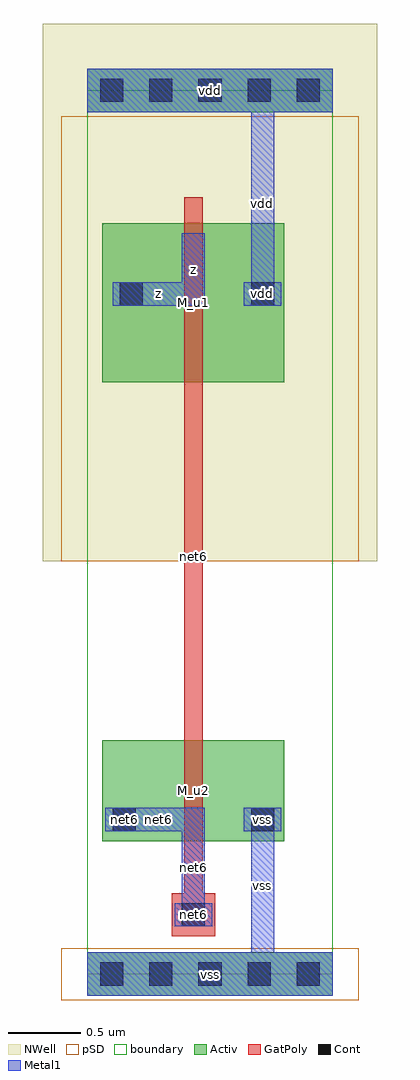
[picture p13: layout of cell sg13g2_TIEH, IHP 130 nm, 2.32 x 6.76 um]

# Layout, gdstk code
import gdstk
lib = gdstk.Library(unit=1e-6, precision=1e-09)
def R(c, l, rs):  # rectangles x0, y0, x1, y1
    for r in rs: c.add(gdstk.rectangle(r[:2], r[2:], *l))
def A(c, l, x, y, w, h, nx, ny, dx, dy):  # array of equal rectangles
    R(c, l, [(x+i*dx, y+j*dy, x+i*dx+w, y+j*dy+h) for i in range(nx) for j in range(ny)])
Activ = (1, 0)
GatPoly = (5, 0)
Cont = (6, 0)
Metal1 = (8, 0)
pSD = (14, 0)
NWell = (31, 0)
TEXT = (63, 0)
boundary = (189, 4)

sg13g2_tieh = lib.new_cell('sg13g2_TIEH')
R(sg13g2_tieh, Activ, [(0,-0.15,1.7,0.15), (0.105,0.92,1.365,1.62), (0.105,0.92,0.405,1.22), (1.065,0.92,1.365,1.22), (0.105,4.1,1.365,5.2), (0.155,4.56,0.455,4.86), (1.065,4.56,1.365,4.86), (0,5.97,1.7,6.27)])
R(sg13g2_tieh, GatPoly, [(0.585,0.26,0.885,0.56), (0.67,0.345,0.8,1.135), (0.67,0.74,0.8,1.8), (0.67,1.005,0.8,4.775), (0.67,1.005,0.8,1.535), (0.67,3.92,0.8,5.38)])
A(sg13g2_tieh, Cont, 0.09, -0.08, 0.16, 0.16, 5, 2, 0.34, 6.12)
R(sg13g2_tieh, Cont, [(0.655,0.33,0.815,0.49), (0.175,0.99,0.335,1.15), (1.135,0.99,1.295,1.15), (0.225,4.63,0.385,4.79), (1.135,4.63,1.295,4.79)])
R(sg13g2_tieh, Metal1, [(0,-0.15,1.7,0.15), (1.135,0.07,1.295,1.15), (0.605,0.33,0.865,0.49), (0.655,0.33,0.815,1.15), (0.125,0.99,0.385,1.15), (0.175,0.99,0.815,1.15), (1.085,0.99,1.345,1.15), (0.175,4.63,0.435,4.79), (0.175,4.63,0.815,4.79), (0.655,4.63,0.815,5.13), (1.085,4.63,1.345,4.79), (1.135,4.63,1.295,6.05), (0,5.97,1.7,6.27)])
R(sg13g2_tieh, pSD, [(-0.18,-0.18,1.88,0.18), (-0.18,2.86,1.88,5.94)])
R(sg13g2_tieh, NWell, [(-0.31,2.86,2.01,6.58)])
R(sg13g2_tieh, boundary, [(0,0,1.7,6.12)])
sg13g2_tieh.add(gdstk.FlexPath([(0.105,0.41),(1.365,0.41)], 0, ends="flush", simple_path=True, layer=63, datatype=0))  # TEXT
sg13g2_tieh.add(gdstk.FlexPath([(0.105,1.07),(1.365,1.07)], 0, ends="flush", simple_path=True, layer=63, datatype=0))  # TEXT
sg13g2_tieh.add(gdstk.FlexPath([(0.105,1.47),(1.365,1.47)], 0, ends="flush", simple_path=True, layer=63, datatype=0))  # TEXT
sg13g2_tieh.add(gdstk.FlexPath([(0.105,2.13),(1.365,2.13)], 0, ends="flush", simple_path=True, layer=63, datatype=0))  # TEXT
sg13g2_tieh.add(gdstk.FlexPath([(0.105,2.61),(1.365,2.61)], 0, ends="flush", simple_path=True, layer=63, datatype=0))  # TEXT
sg13g2_tieh.add(gdstk.FlexPath([(0.105,3.09),(1.365,3.09)], 0, ends="flush", simple_path=True, layer=63, datatype=0))  # TEXT
sg13g2_tieh.add(gdstk.FlexPath([(0.105,3.57),(1.365,3.57)], 0, ends="flush", simple_path=True, layer=63, datatype=0))  # TEXT
sg13g2_tieh.add(gdstk.FlexPath([(0.105,4.25),(1.365,4.25)], 0, ends="flush", simple_path=True, layer=63, datatype=0))  # TEXT
sg13g2_tieh.add(gdstk.FlexPath([(0.105,4.71),(1.365,4.71)], 0, ends="flush", simple_path=True, layer=63, datatype=0))  # TEXT
sg13g2_tieh.add(gdstk.FlexPath([(0.105,5.05),(1.365,5.05)], 0, ends="flush", simple_path=True, layer=63, datatype=0))  # TEXT
sg13g2_tieh.add(gdstk.FlexPath([(0.105,5.71),(1.365,5.71)], 0, ends="flush", simple_path=True, layer=63, datatype=0))  # TEXT
sg13g2_tieh.add(gdstk.FlexPath([(0.255,0.07),(0.255,6.05)], 0, ends="flush", simple_path=True, layer=63, datatype=0))  # TEXT
sg13g2_tieh.add(gdstk.FlexPath([(0.735,0.07),(0.735,6.05)], 0, ends="flush", simple_path=True, layer=63, datatype=0))  # TEXT
sg13g2_tieh.add(gdstk.FlexPath([(1.215,0.07),(1.215,6.05)], 0, ends="flush", simple_path=True, layer=63, datatype=0))  # TEXT
sg13g2_tieh.add(gdstk.Label('net6', (0.255,1.07), layer=6, texttype=0))
sg13g2_tieh.add(gdstk.Label('net6', (0.735,0.41), layer=6, texttype=0))
sg13g2_tieh.add(gdstk.Label('vss', (1.215,1.07), layer=6, texttype=0))
sg13g2_tieh.add(gdstk.Label('vdd', (1.215,4.71), layer=6, texttype=0))
sg13g2_tieh.add(gdstk.Label('net6', (0.255,1.07), layer=8, texttype=0))
sg13g2_tieh.add(gdstk.Label('net6', (0.495,1.07), layer=8, texttype=0))
sg13g2_tieh.add(gdstk.Label('net6', (0.735,0.74), layer=8, texttype=0))
sg13g2_tieh.add(gdstk.Label('net6', (0.735,0.41), layer=8, texttype=0))
sg13g2_tieh.add(gdstk.Label('vss', (1.215,1.07), layer=8, texttype=0))
sg13g2_tieh.add(gdstk.Label('vss', (1.215,0.61), layer=8, texttype=0))
sg13g2_tieh.add(gdstk.Label('vdd', (1.215,4.71), layer=8, texttype=0))
sg13g2_tieh.add(gdstk.Label('vdd', (1.215,5.34), layer=8, texttype=0))
sg13g2_tieh.add(gdstk.Label('z', (0.495,4.71), layer=8, texttype=25))
sg13g2_tieh.add(gdstk.Label('z', (0.735,4.88), layer=8, texttype=25))
sg13g2_tieh.add(gdstk.Label('vss', (0.85,0), layer=8, texttype=25))
sg13g2_tieh.add(gdstk.Label('vdd', (0.85,6.12), layer=8, texttype=25))
sg13g2_tieh.add(gdstk.Label('M_u2', (0.735,1.27), layer=1, texttype=0))
sg13g2_tieh.add(gdstk.Label('M_u1', (0.735,4.65), layer=1, texttype=0))
sg13g2_tieh.add(gdstk.Label('net6', (0.255,1.07), layer=1, texttype=0))
sg13g2_tieh.add(gdstk.Label('vss', (1.215,1.07), layer=1, texttype=0))
sg13g2_tieh.add(gdstk.Label('vdd', (1.215,4.71), layer=1, texttype=0))
sg13g2_tieh.add(gdstk.Label('net6', (0.735,0.41), layer=5, texttype=0))
sg13g2_tieh.add(gdstk.Label('net6', (0.735,0.74), layer=5, texttype=0))
sg13g2_tieh.add(gdstk.Label('net6', (0.735,2.89), layer=5, texttype=0))
sg13g2_tieh.add(gdstk.Label('net6', (0.735,1.27), layer=5, texttype=0))

lib.write_gds('sg13g2_TIEH.gds')
